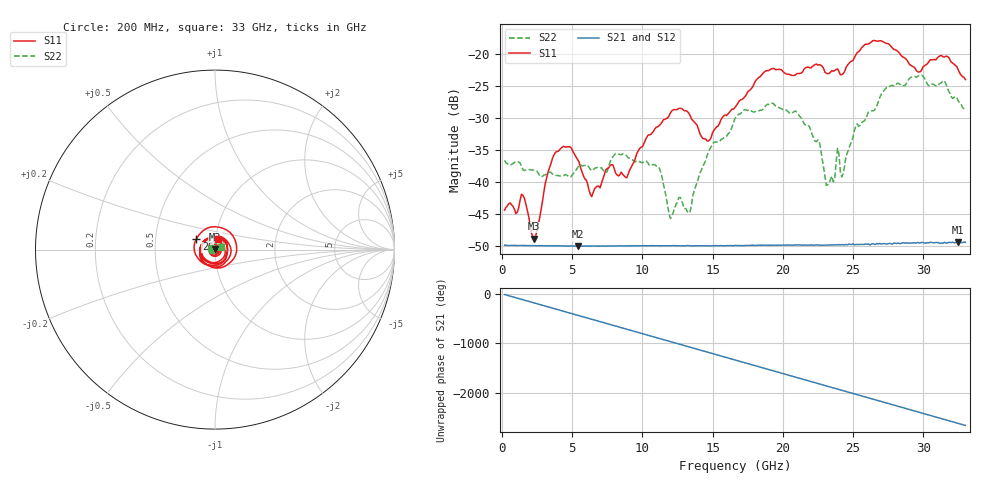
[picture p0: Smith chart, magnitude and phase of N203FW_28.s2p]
# GHZ S RI R 50
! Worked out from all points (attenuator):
!   329 points, 200 MHz to 33 GHz, reference 50 ohm
!   highest |S21| = -49.46 dB at 32.5 GHz (marker M1); lowest = -50.1 dB at 5.4 GHz (marker M2)
!   lowest |S11| = -48.9 dB at 2.3 GHz (marker M3), VSWR 1.01, Z = 50.1 + j0.341 ohm
!   |S11| at or under -10 dB: start of sweep to end of sweep
!   |S22| runs from -45.8 to -23.3 dB; largest |S21 - S12| = 8.8e-05
!   S11 on the Smith chart (normalised r, x): 200 MHz: 1.01, +0.00; 26 GHz: 0.81, +0.09; 33 GHz: 1.02, +0.13
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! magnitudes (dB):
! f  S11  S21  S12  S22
! 200 MHz  -44.4  -50.0  -49.9  -36.6
! 1.5 GHz  -42.1  -50.0  -50.0  -38.1
! 2.3 GHz  -48.9  -50.0  -50.0  -38.2
! 3.7 GHz  -35.8  -50.1  -50.0  -38.9
! 5.4 GHz  -36.5  -50.1  -50.1  -37.8
! 5.7 GHz  -38.4  -50.1  -50.1  -37.5
! 6.4 GHz  -42.3  -50.1  -50.1  -38.3
! 7.8 GHz  -37.3  -50.1  -50.1  -36.4
! 8.9 GHz  -39.4  -50.0  -50.0  -35.9
! 11.2 GHz  -31.2  -50.0  -50.0  -37.8
! 12 GHz  -29.2  -50.0  -50.0  -45.8
! 12.6 GHz  -28.5  -50.0  -50.0  -42.5
! 13.3 GHz  -29.2  -50.0  -50.0  -44.9
! 14.7 GHz  -33.6  -50.0  -50.0  -35.4
! 16.6 GHz  -28.3  -50.0  -50.0  -30.1
! 19.3 GHz  -22.2  -49.9  -49.9  -27.7
! 22.1 GHz  -21.9  -49.9  -49.9  -32.7
! 23.1 GHz  -23.0  -49.9  -49.9  -40.6
! 26 GHz  -18.4  -49.8  -49.7  -29.6
! 27.6 GHz  -18.5  -49.7  -49.7  -25.1
! 32.5 GHz  -22.5  -49.5  -49.4  -27.4
! 33 GHz  -24.0  -49.5  -49.5  -28.8
